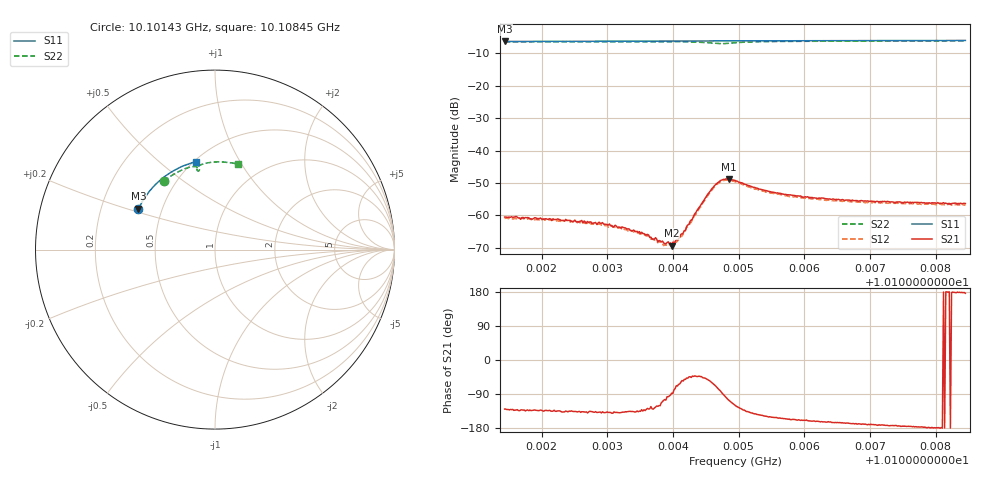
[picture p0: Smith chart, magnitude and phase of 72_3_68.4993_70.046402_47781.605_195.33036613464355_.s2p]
#  HZ  S  RI  R  50.00
! Rohde & Schwarz Vector Network Analyzer
! Rohde-Schwarz,ZNB20-2Port,1311601062101988,3.16
! Created: UTC 3/20/2024, 5:06:57 PM
! freq[Hz]  re:S11  im:S11  re:S21  im:S21  re:S12  im:S12  re:S22  im:S22
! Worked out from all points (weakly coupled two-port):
!   401 points, 10.10143 GHz to 10.10845 GHz, reference 50 ohm
!   highest |S21| = -48.72 dB at 10.10486 GHz (marker M1); lowest = -69.3 dB at 10.10398 GHz (marker M2)
!   lowest |S11| = -6.3 dB at 10.10143 GHz (marker M3), VSWR 2.87, Z = 18.4 + j10.9 ohm
!   |S11| at or under -10 dB: nowhere
!   |S22| runs from -7.0 to -6.1 dB; largest |S21 - S12| = 0.00038
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1.0101435e10  -0.4263 0.2273  -0.0006 -0.00073  -0.000521 -0.000737  -0.2851 0.3805
1.0102049e10  -0.409 0.2606  -0.000605 -0.000648  -0.000552 -0.000644  -0.253 0.4046
1.010261e10  -0.3913 0.2897  -0.000609 -0.000577  -0.00051 -0.000565  -0.222 0.4243
1.0102909e10  -0.3808 0.3046  -0.000577 -0.00049  -0.000503 -0.000502  -0.2046 0.4338
1.0103382e10  -0.3632 0.3275  -0.000416 -0.000407  -0.000385 -0.000436  -0.1757 0.4474
1.0103593e10  -0.3551 0.337  -0.000326 -0.000383  -0.000281 -0.000394  -0.1621 0.4526
1.010368e10  -0.3517 0.3413  -0.00027 -0.000338  -0.000225 -0.00037  -0.1561 0.4546
1.0103786e10  -0.3473 0.3459  -0.000208 -0.000354  -0.000157 -0.000369  -0.1488 0.4569
1.0103891e10  -0.343 0.3506  -0.000101 -0.000354  -4.49e-05 -0.00035  -0.1414 0.4589
1.0103979e10  -0.3394 0.3544  1.54e-05 -0.000344  5.72e-05 -0.000331  -0.135 0.4603
1.0104049e10  -0.3364 0.3576  0.000159 -0.00039  0.000174 -0.000345  -0.1295 0.4615
1.0104137e10  -0.3326 0.3616  0.000305 -0.000424  0.000318 -0.000363  -0.1227 0.4624
1.0104505e10  -0.3165 0.3768  0.00126 -0.00148  0.00134 -0.00131  -0.0913 0.4548
1.0104628e10  -0.3109 0.3816  0.00119 -0.0026  0.00136 -0.00239  -0.0868 0.4444
1.0104733e10  -0.3061 0.3858  0.000333 -0.00349  0.000646 -0.00329  -0.0918 0.4377
1.0104856e10  -0.3006 0.3906  -0.00107 -0.00351  -0.000718 -0.00343  -0.0999 0.4422
1.0104944e10  -0.2967 0.3941  -0.0017 -0.00303  -0.00137 -0.00302  -0.1007 0.4501
1.0105224e10  -0.2834 0.4047  -0.00213 -0.0017  -0.0019 -0.00183  -0.0853 0.4689
1.0105488e10  -0.2705 0.4141  -0.00201 -0.00114  -0.00182 -0.00127  -0.0662 0.4773
1.0106119e10  -0.2384 0.4353  -0.0018 -0.000603  -0.00166 -0.000731  -0.0224 0.486
1.0107295e10  -0.1749 0.4671  -0.00162 -0.000183  -0.00153 -0.000363  0.055 0.4874
1.0108452e10  -0.1085 0.4891  -0.00152 0.000104  -0.00143 -9.29e-05  0.1285 0.4761
